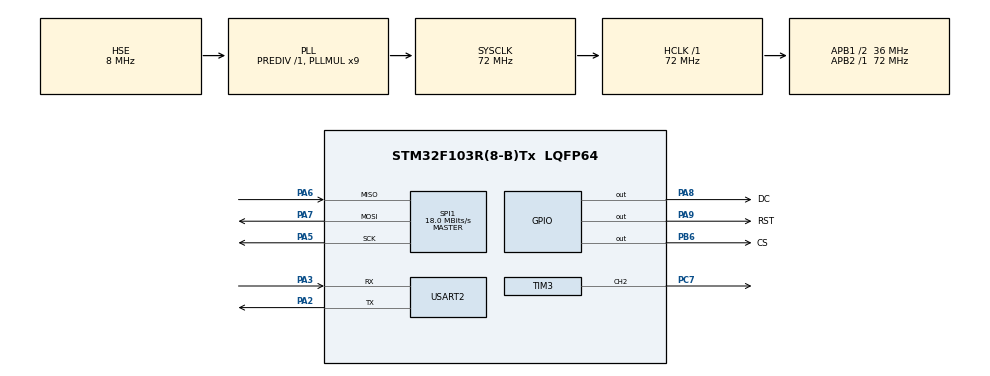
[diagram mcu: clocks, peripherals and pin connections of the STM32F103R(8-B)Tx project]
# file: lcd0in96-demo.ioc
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Mcu.Family=STM32F1
Mcu.Name=STM32F103R(8-B)Tx
Mcu.Package=LQFP64
NVIC.PriorityGroup=NVIC_PRIORITYGROUP_4
PA13.Mode=Serial_Wire
PA13.Signal=SYS_JTMS-SWDIO
PA14.Mode=Serial_Wire
PA14.Signal=SYS_JTCK-SWCLK
PA2.Mode=Asynchronous
PA2.Signal=USART2_TX
PA3.Mode=Asynchronous
PA3.Signal=USART2_RX
PA5.Mode=Full_Duplex_Master
PA5.Signal=SPI1_SCK
PA6.Mode=Full_Duplex_Master
PA6.Signal=SPI1_MISO
PA7.Mode=Full_Duplex_Master
PA7.Signal=SPI1_MOSI
PA8.GPIO_Label=DC
PA8.Signal=GPIO_Output
PA9.GPIO_Label=RST
PA9.Signal=GPIO_Output
PB6.GPIO_Label=CS
PB6.GPIO_Speed=GPIO_SPEED_FREQ_HIGH
PB6.Signal=GPIO_Output
PC7.Signal=S_TIM3_CH2
PD0-OSC_IN.Mode=HSE-External-Oscillator
PD0-OSC_IN.Signal=RCC_OSC_IN
PD1-OSC_OUT.Mode=HSE-External-Oscillator
PD1-OSC_OUT.Signal=RCC_OSC_OUT
ProjectManager.HeapSize=0x200
ProjectManager.StackSize=0x400
ProjectManager.TargetToolchain=MDK-ARM V5
RCC.AHBFreq_Value=72000000
RCC.APB1CLKDivider=RCC_HCLK_DIV2
RCC.APB1Freq_Value=36000000
RCC.APB1TimFreq_Value=72000000
RCC.APB2Freq_Value=72000000
RCC.APB2TimFreq_Value=72000000
RCC.HCLKFreq_Value=72000000
RCC.PLLMUL=RCC_PLL_MUL9
RCC.PLLSourceVirtual=RCC_PLLSOURCE_HSE
RCC.SYSCLKFreq_VALUE=72000000
RCC.SYSCLKSource=RCC_SYSCLKSOURCE_PLLCLK
RCC.USBFreq_Value=72000000
SH.S_TIM3_CH2.0=TIM3_CH2,PWM Generation2 CH2
SPI1.BaudRatePrescaler=SPI_BAUDRATEPRESCALER_4
SPI1.CLKPhase=SPI_PHASE_1EDGE
SPI1.CLKPolarity=SPI_POLARITY_LOW
SPI1.CalculateBaudRate=18.0 MBits/s
SPI1.Direction=SPI_DIRECTION_2LINES
SPI1.Mode=SPI_MODE_MASTER
SPI1.VirtualType=VM_MASTER
TIM3.AutoReloadPreload=TIM_AUTORELOAD_PRELOAD_ENABLE
TIM3.Channel-PWM\ Generation2\ CH2=TIM_CHANNEL_2
TIM3.Period=1000
TIM3.Prescaler=300-1
TIM3.Pulse-PWM\ Generation2\ CH2=100
USART2.VirtualMode=VM_ASYNC
board=lcd0in96-demo

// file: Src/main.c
/**
  ******************************************************************************
  * File Name          : main.c
  * Description        : Main program body
  ******************************************************************************
  ** This notice applies to any and all portions of this file
  * that are not between comment pairs USER CODE BEGIN and
  * USER CODE END. Other portions of this file, whether
  * inserted by the user or by software development tools
  * are owned by their respective copyright owners.
  *
  * COPYRIGHT(c) 2018 STMicroelectronics
  *
  * Redistribution and use in source and binary forms, with or without modification,
  * are permitted provided that the following conditions are met:
  *   1. Redistributions of source code must retain the above copyright notice,
  *      this list of conditions and the following disclaimer.
  *   2. Redistributions in binary form must reproduce the above copyright notice,
  *      this list of conditions and the following disclaimer in the documentation
  *      and/or other materials provided with the distribution.
  *   3. Neither the name of STMicroelectronics nor the names of its contributors
  *      may be used to endorse or promote products derived from this software
  *      without specific prior written permission.
  *
  * THIS SOFTWARE IS PROVIDED BY THE COPYRIGHT HOLDERS AND CONTRIBUTORS "AS IS"
  * AND ANY EXPRESS OR IMPLIED WARRANTIES, INCLUDING, BUT NOT LIMITED TO, THE
  * IMPLIED WARRANTIES OF MERCHANTABILITY AND FITNESS FOR A PARTICULAR PURPOSE ARE
  * DISCLAIMED. IN NO EVENT SHALL THE COPYRIGHT HOLDER OR CONTRIBUTORS BE LIABLE
  * FOR ANY DIRECT, INDIRECT, INCIDENTAL, SPECIAL, EXEMPLARY, OR CONSEQUENTIAL
  * DAMAGES (INCLUDING, BUT NOT LIMITED TO, PROCUREMENT OF SUBSTITUTE GOODS OR
  * SERVICES; LOSS OF USE, DATA, OR PROFITS; OR BUSINESS INTERRUPTION) HOWEVER
  * CAUSED AND ON ANY THEORY OF LIABILITY, WHETHER IN CONTRACT, STRICT LIABILITY,
  * OR TORT (INCLUDING NEGLIGENCE OR OTHERWISE) ARISING IN ANY WAY OUT OF THE USE
  * OF THIS SOFTWARE, EVEN IF ADVISED OF THE POSSIBILITY OF SUCH DAMAGE.
  *
  ******************************************************************************
  */
#include "main.h"
#include "stm32f1xx_hal.h"
#include "spi.h"
#include "tim.h"
#include "usart.h"
#include "gpio.h"

/* USER CODE BEGIN Includes */

#include "LCD_Driver.h"
#include "GUI_Paint.h"
#include "fonts.h"
#include "image.h"

/* USER CODE END Includes */

/* USER CODE BEGIN PV */
/* Private variables ---------------------------------------------------------*/

/* USER CODE END PV */

void SystemClock_Config(void);

/* USER CODE BEGIN PFP */
/* Private function prototypes -----------------------------------------------*/

/* USER CODE END PFP */

int main(void)
{

  /* MCU Configuration----------------------------------------------------------*/

  /* Reset of all peripherals, Initializes the Flash interface and the Systick. */
  HAL_Init();

  /* Configure the system clock */
  SystemClock_Config();

  /* Initialize all configured peripherals */
  MX_GPIO_Init();
  MX_SPI1_Init();
  MX_USART2_UART_Init();
  MX_TIM3_Init();

  /* USER CODE BEGIN 2 */
	HAL_TIM_PWM_Start(&htim3, TIM_CHANNEL_2);

	LCD_SetBacklight(500);
	LCD_Init();
	LCD_Clear(BLACK);

	Paint_NewImage(LCD_WIDTH, LCD_HEIGHT,0,WHITE);
	Paint_Clear(WHITE);
	//Paint_SetRotate(180);
	Paint_DrawString_EN(0, 0, "123", &Font24, 0x000f, 0xfff0);
	Paint_DrawString_EN(0, 23, "ABC", &Font24, BLUE, CYAN);
	Paint_DrawString_CN(20,42, "微雪电子",  &Font24CN, WHITE, RED);
	Paint_DrawRectangle(70, 10, 100, 40, RED,DRAW_FILL_EMPTY, DOT_PIXEL_2X2 );
	Paint_DrawLine(70, 10, 100, 40, MAGENTA, LINE_STYLE_SOLID, DOT_PIXEL_2X2);
	Paint_DrawLine(100, 10, 70, 40, MAGENTA, LINE_STYLE_SOLID, DOT_PIXEL_2X2);

	Paint_DrawCircle(85,25, 22, GREEN, DRAW_FILL_EMPTY, DOT_PIXEL_2X2);

	Paint_DrawImage(gImage_40X40,120, 0,40, 40);
	DEV_Delay_ms(2000);
	Paint_DrawImage(gImage_160X80,0, 0, 160, 80);

  /* USER CODE END 2 */

  /* Infinite loop */
  while (1)
  {

  }

}

/** System Clock Configuration
*/
void SystemClock_Config(void)
{

  RCC_OscInitTypeDef RCC_OscInitStruct;
  RCC_ClkInitTypeDef RCC_ClkInitStruct;

    /**Initializes the CPU, AHB and APB busses clocks
    */
  RCC_OscInitStruct.OscillatorType = RCC_OSCILLATORTYPE_HSE;
  RCC_OscInitStruct.HSEState = RCC_HSE_ON;
  RCC_OscInitStruct.HSEPredivValue = RCC_HSE_PREDIV_DIV1;
  RCC_OscInitStruct.HSIState = RCC_HSI_ON;
  RCC_OscInitStruct.PLL.PLLState = RCC_PLL_ON;
  RCC_OscInitStruct.PLL.PLLSource = RCC_PLLSOURCE_HSE;
  RCC_OscInitStruct.PLL.PLLMUL = RCC_PLL_MUL9;
  if (HAL_RCC_OscConfig(&RCC_OscInitStruct) != HAL_OK)
  {
    _Error_Handler(__FILE__, __LINE__);
  }

    /**Initializes the CPU, AHB and APB busses clocks
    */
  RCC_ClkInitStruct.ClockType = RCC_CLOCKTYPE_HCLK|RCC_CLOCKTYPE_SYSCLK
                              |RCC_CLOCKTYPE_PCLK1|RCC_CLOCKTYPE_PCLK2;
  RCC_ClkInitStruct.SYSCLKSource = RCC_SYSCLKSOURCE_PLLCLK;
  RCC_ClkInitStruct.AHBCLKDivider = RCC_SYSCLK_DIV1;
  RCC_ClkInitStruct.APB1CLKDivider = RCC_HCLK_DIV2;
  RCC_ClkInitStruct.APB2CLKDivider = RCC_HCLK_DIV1;

  if (HAL_RCC_ClockConfig(&RCC_ClkInitStruct, FLASH_LATENCY_2) != HAL_OK)
  {
    _Error_Handler(__FILE__, __LINE__);
  }

    /**Configure the Systick interrupt time
    */
  HAL_SYSTICK_Config(HAL_RCC_GetHCLKFreq()/1000);

    /**Configure the Systick
    */
  HAL_SYSTICK_CLKSourceConfig(SYSTICK_CLKSOURCE_HCLK);

  /* SysTick_IRQn interrupt configuration */
  HAL_NVIC_SetPriority(SysTick_IRQn, 0, 0);
}

void _Error_Handler(char * file, int line)
{
  while(1)
  {
  }
}

/************************ (C) COPYRIGHT STMicroelectronics *****END OF FILE****/
